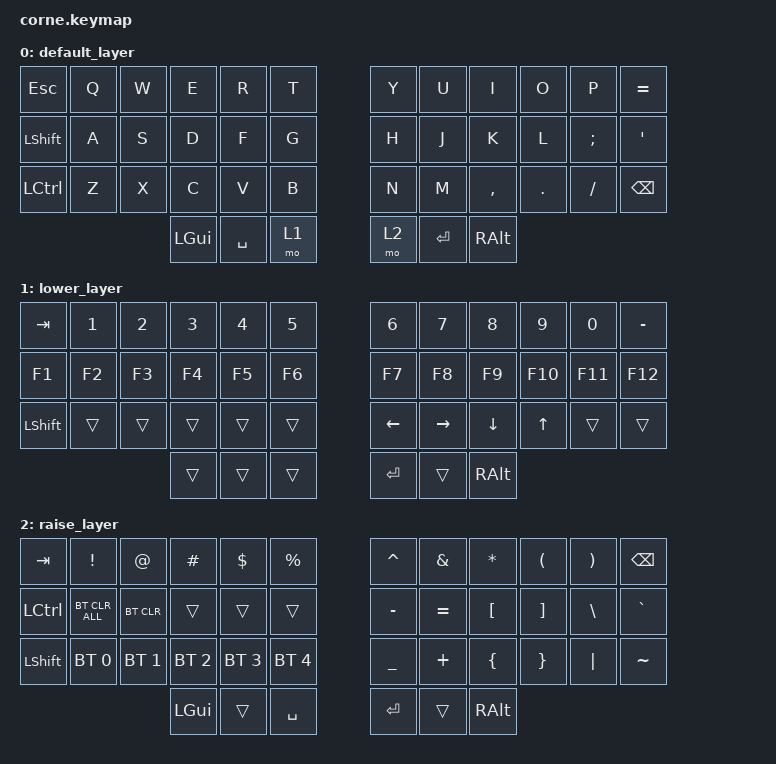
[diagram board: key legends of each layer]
/*
 * Copyright (c) 2020 The ZMK Contributors
 *
 * SPDX-License-Identifier: MIT
 */

#include <behaviors.dtsi>
#include <dt-bindings/zmk/bt.h>
#include <dt-bindings/zmk/keys.h>

/ {
    keymap {
        compatible = "zmk,keymap";

        default_layer {
            // -----------------------------------------------------------------------------------------
            // |  TAB |  Q  |  W  |  E  |  R  |  T  |   |  Y  |  U   |  I  |  O  |  P  | BSPC |
            // | CTRL |  A  |  S  |  D  |  F  |  G  |   |  H  |  J   |  K  |  L  |  ;  |  '   |
            // | SHFT |  Z  |  X  |  C  |  V  |  B  |   |  N  |  M   |  ,  |  .  |  /  | ESC  |
            //                    | GUI | LWR | SPC |   | ENT | RSE  | ALT |

            bindings = <
&kp ESC         &kp Q  &kp W  &kp E     &kp R      &kp T    &kp Y  &kp U      &kp I      &kp O    &kp P     &kp EQUAL
&kp LEFT_SHIFT  &kp A  &kp S  &kp D     &kp F      &kp G    &kp H  &kp J      &kp K      &kp L    &kp SEMI  &kp SQT
&kp LCTRL       &kp Z  &kp X  &kp C     &kp V      &kp B    &kp N  &kp M      &kp COMMA  &kp DOT  &kp FSLH  &kp BACKSPACE
                              &kp LGUI  &kp SPACE  &mo 1    &mo 2  &kp ENTER  &kp RALT
            >;
        };

        lower_layer {
            // -----------------------------------------------------------------------------------------
            // |  TAB |  1  |  2  |  3  |  4  |  5  |   |  6  |  7  |  8  |  9  |  0  | BSPC |
            // | BTCLR| BT1 | BT2 | BT3 | BT4 | BT5 |   | LFT | DWN |  UP | RGT |     |      |
            // | SHFT |     |     |     |     |     |   |     |     |     |     |     |      |
            //                    | GUI |     | SPC |   | ENT |     | ALT |

            bindings = <
&kp TAB    &kp N1  &kp N2  &kp N3  &kp N4  &kp N5    &kp N6          &kp N7     &kp N8          &kp N9        &kp N0   &kp MINUS
&kp F1     &kp F2  &kp F3  &kp F4  &kp F5  &kp F6    &kp F7          &kp F8     &kp F9          &kp F10       &kp F11  &kp F12
&kp LSHFT  &trans  &trans  &trans  &trans  &trans    &kp LEFT_ARROW  &kp RIGHT  &kp DOWN_ARROW  &kp UP_ARROW  &trans   &trans
                           &trans  &trans  &trans    &kp RET         &trans     &kp RALT
            >;
        };

        raise_layer {
            // -----------------------------------------------------------------------------------------
            // |  TAB |  !  |  @  |  #  |  $  |  %  |   |  ^  |  &  |  *  |  (  |  )  | BSPC |
            // | CTRL |     |     |     |     |     |   |  -  |  =  |  [  |  ]  |  \  |  `   |
            // | SHFT |     |     |     |     |     |   |  _  |  +  |  {  |  }  | "|" |  ~   |
            //                    | GUI |     | SPC |   | ENT |     | ALT |

            bindings = <
&kp TAB    &kp EXCL        &kp AT        &kp HASH      &kp DLLR      &kp PRCNT       &kp CARET  &kp AMPS   &kp ASTRK  &kp LPAR  &kp RPAR  &kp BSPC
&kp LCTRL  &bt BT_CLR_ALL  &bt BT_CLR    &trans        &trans        &trans          &kp MINUS  &kp EQUAL  &kp LBKT   &kp RBKT  &kp BSLH  &kp GRAVE
&kp LSHFT  &bt BT_SEL 0    &bt BT_SEL 1  &bt BT_SEL 2  &bt BT_SEL 3  &bt BT_SEL 4    &kp UNDER  &kp PLUS   &kp LBRC   &kp RBRC  &kp PIPE  &kp TILDE
                                         &kp LGUI      &trans        &kp SPACE       &kp RET    &trans     &kp RALT
            >;
        };
    };
};
